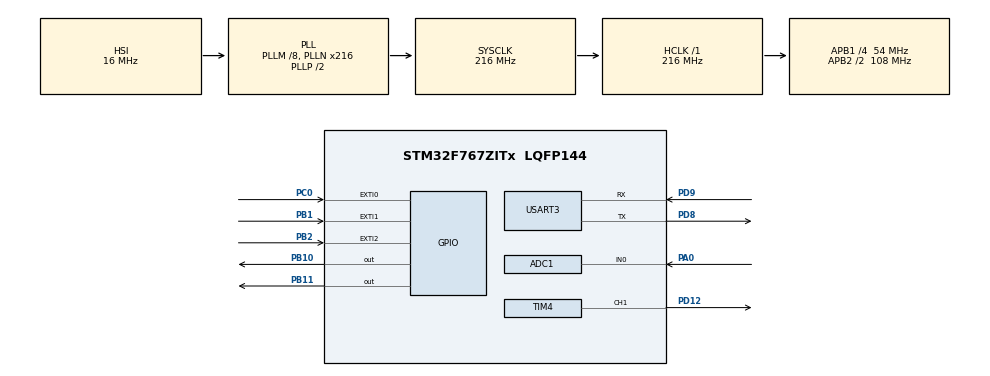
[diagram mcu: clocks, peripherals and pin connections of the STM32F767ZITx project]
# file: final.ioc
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ADC1.Channel-0\#ChannelRegularConversion=ADC_CHANNEL_0
ADC1.ContinuousConvMode=ENABLE
ADC1.EOCSelection=ADC_EOC_SEQ_CONV
ADC1.NbrOfConversionFlag=1
ADC1.Rank-0\#ChannelRegularConversion=1
ADC1.SamplingTime-0\#ChannelRegularConversion=ADC_SAMPLETIME_3CYCLES
ADC1.master=1
CORTEX_M7.default_mode_Activation=1
Mcu.Family=STM32F7
Mcu.Name=STM32F767ZITx
Mcu.Package=LQFP144
NVIC.EXTI0_IRQn=true\:2\:0\:true\:false\:true\:true\:true\:true
NVIC.EXTI1_IRQn=true\:2\:0\:true\:false\:true\:true\:true\:true
NVIC.EXTI2_IRQn=true\:1\:0\:true\:false\:true\:true\:true\:true
NVIC.PriorityGroup=NVIC_PRIORITYGROUP_2
NVIC.TIM2_IRQn=true\:3\:0\:true\:false\:true\:true\:true\:true
NVIC.TIM4_IRQn=true\:3\:0\:true\:false\:true\:true\:true\:true
PA0/WKUP.Signal=ADCx_IN0
PB1.Signal=GPXTI1
PB10.Signal=GPIO_Output
PB11.Signal=GPIO_Output
PB2.Signal=GPXTI2
PC0.Signal=GPXTI0
PD12.Signal=S_TIM4_CH1
PD8.Mode=Asynchronous
PD8.Signal=USART3_TX
PD9.Mode=Asynchronous
PD9.Signal=USART3_RX
ProjectManager.HeapSize=0x200
ProjectManager.StackSize=0x400
ProjectManager.TargetToolchain=STM32CubeIDE
RCC.AHBFreq_Value=216000000
RCC.APB1CLKDivider=RCC_HCLK_DIV4
RCC.APB1Freq_Value=54000000
RCC.APB1TimFreq_Value=108000000
RCC.APB2CLKDivider=RCC_HCLK_DIV2
RCC.APB2Freq_Value=108000000
RCC.APB2TimFreq_Value=216000000
RCC.CortexFreq_Value=216000000
RCC.HCLKFreq_Value=216000000
RCC.HSE_VALUE=25000000
RCC.HSI_VALUE=16000000
RCC.LSE_VALUE=32768
RCC.PLLM=8
RCC.PLLN=216
RCC.SYSCLKFreq_VALUE=216000000
RCC.SYSCLKSource=RCC_SYSCLKSOURCE_PLLCLK
RCC.USBFreq_Value=216000000
RCC.VCOOutputFreq_Value=432000000
SH.ADCx_IN0.0=ADC1_IN0,IN0
SH.S_TIM4_CH1.0=TIM4_CH1,PWM Generation1 CH1
TIM2.Period=400000-1
TIM2.Prescaler=216-1
TIM4.Channel-PWM\ Generation1\ CH1=TIM_CHANNEL_1
USART3.VirtualMode-Asynchronous=VM_ASYNC
VP_TIM2_VS_ClockSourceINT.Mode=Internal
VP_TIM4_VS_ClockSourceINT.Mode=Internal
board=custom

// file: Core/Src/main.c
/* USER CODE BEGIN Header */
/**
  ******************************************************************************
  * @file           : main.c
  * @brief          : Main program body
  ******************************************************************************
  * @attention
  *
  * Copyright (c) 2024 STMicroelectronics.
  * All rights reserved.
  *
  * This software is licensed under terms that can be found in the LICENSE file
  * in the root directory of this software component.
  * If no LICENSE file comes with this software, it is provided AS-IS.
  *
  ******************************************************************************
  */
/* USER CODE END Header */
#include "main.h"
#include "adc.h"
#include "tim.h"
#include "usart.h"
#include "gpio.h"
#include "string.h"
#include "stdio.h"

void SystemClock_Config(void);
static void MPU_Config(void);

/* USER CODE BEGIN 0 */
uint8_t pwm;
int act = 0;
volatile uint32_t adc_val = 0;
uint32_t adc_val_buffer[1];

int average_16(int x) {
    static int samples[16];
    static int i = 0;
    static int total = 0;

    /* Update the moving average */
    total += x - samples[i];
    samples[i] = x;

    /* Update the index */
    i = (i == 15 ? 0 : i + 1);

    return total >> 4; // Divide by 16
}
/* USER CODE END 0 */

int main(void)
{

  /* MPU Configuration--------------------------------------------------------*/
  MPU_Config();

  /* MCU Configuration--------------------------------------------------------*/

  /* Reset of all peripherals, Initializes the Flash interface and the Systick. */
  HAL_Init();

  /* Configure the system clock */
  SystemClock_Config();

  /* Initialize all configured peripherals */
  MX_GPIO_Init();
  MX_ADC1_Init();
  MX_TIM2_Init();
  MX_TIM4_Init();
  MX_USART3_UART_Init();
  /* USER CODE BEGIN 2 */
  HAL_TIM_Base_Start_IT (&htim2);
  HAL_TIM_PWM_Start(&htim4, TIM_CHANNEL_1);
  HAL_ADC_Start_DMA(&hadc1, adc_val_buffer, 1);

  float dutyCycle = 0.0;

  char m1[]= "Press button 2 to control LED \r\n";
  char m2[]= "Enter m to switch manualmode\r\n";
  char m3[]= "\r\nEnter a to switch automode\r\n";
  char m4[]= "\r\nAutomode activated \r\nEnter r to increase\r\n";
  char m5[]= "Input => ";
  char m6[] = "\r\nManualMode activated \r\n";

  char receivedChar;

  HAL_UART_Transmit(&huart3, (uint8_t*)m1, strlen(m1), HAL_MAX_DELAY);

  /* USER CODE END 2 */

  /* Infinite loop */
  while (1)
  {
	  if (act == 1){
		  HAL_UART_Transmit(&huart3, (uint8_t*)m3, strlen(m3), HAL_MAX_DELAY);
		  HAL_UART_Transmit(&huart3, (uint8_t*)m2, strlen(m2), HAL_MAX_DELAY);
		  HAL_UART_Transmit(&huart3, (uint8_t*)m5, strlen(m5), HAL_MAX_DELAY);

		  if (HAL_UART_Receive(&huart3, (uint8_t*)&receivedChar, 1, HAL_MAX_DELAY) == HAL_OK){
			  HAL_UART_Transmit(&huart3, (uint8_t*)&receivedChar, 4, HAL_MAX_DELAY);
			  HAL_UART_Transmit(&huart3, (uint8_t*)"\r\n", strlen("\r\n"), HAL_MAX_DELAY);
			  if(receivedChar == 'a'){
				  HAL_UART_Transmit(&huart3, (uint8_t*)m4, strlen(m4), HAL_MAX_DELAY);

					  while(1){
						  HAL_UART_Transmit(&huart3, (uint8_t*)m5, strlen(m5), HAL_MAX_DELAY);
						  if (HAL_UART_Receive(&huart3, (uint8_t*)&receivedChar, 1, HAL_MAX_DELAY) == HAL_OK){
							  if(receivedChar == 'r'){
								  HAL_UART_Transmit(&huart3, (uint8_t*)&receivedChar, 1, HAL_MAX_DELAY);
								  HAL_UART_Transmit(&huart3, (uint8_t*)"\r\n", strlen("\r\n"), HAL_MAX_DELAY);

								  dutyCycle += 0.2;
								  if(dutyCycle > 1.0){
									  dutyCycle=0.0;
								  }
								  pwm = (GPIOD->IDR & GPIO_PIN_12) >> 12;
								  htim4.Instance->CCR1 = (10000 - 1) * dutyCycle;
							  }
							  else{
								  HAL_UART_Transmit(&huart3, (uint8_t*)&receivedChar, 1, HAL_MAX_DELAY);
								  HAL_UART_Transmit(&huart3, (uint8_t*)"\r\n", strlen("\r\n"), HAL_MAX_DELAY);
								  break;
							  }
					  	  }
					  }
			  	  }
			  if(receivedChar == 'm'){
				  HAL_UART_Transmit(&huart3, (uint8_t*)m6, strlen(m6), HAL_MAX_DELAY);
				  HAL_UART_Transmit(&huart3, (uint8_t*)"type s to stop \r\n", strlen("type s to stop \r\n"), HAL_MAX_DELAY);
				  while (1) {
				      // Check for ADC conversion and handle brightness adjustment
				      if (HAL_ADC_PollForConversion(&hadc1, 100) == HAL_OK) {
				          adc_val = HAL_ADC_GetValue(&hadc1);
				          HAL_ADC_Start_DMA(&hadc1, adc_val_buffer, 1);
				          adc_val = average_16(adc_val);

				          if (adc_val >= 0 && adc_val <= 819) {
				              dutyCycle = 0.2;
				          } else {
				              dutyCycle = 1.0;
				          }
				          htim4.Instance->CCR1 = (10000 - 1) * dutyCycle;
				      }

				      // Check for UART input to see if the user typed 's'
				      if (HAL_UART_Receive(&huart3, (uint8_t*)&receivedChar, 1, 10) == HAL_OK) {
				          if (receivedChar == 's') {
				              break;  // Exit the loop when 's' is received
				          }
				      }
				  }
			  }
		  }
	  }
  }
}

void SystemClock_Config(void)
{
  RCC_OscInitTypeDef RCC_OscInitStruct = {0};
  RCC_ClkInitTypeDef RCC_ClkInitStruct = {0};

  /** Configure the main internal regulator output voltage
  */
  __HAL_RCC_PWR_CLK_ENABLE();
  __HAL_PWR_VOLTAGESCALING_CONFIG(PWR_REGULATOR_VOLTAGE_SCALE1);

  /** Initializes the RCC Oscillators according to the specified parameters
  * in the RCC_OscInitTypeDef structure.
  */
  RCC_OscInitStruct.OscillatorType = RCC_OSCILLATORTYPE_HSI;
  RCC_OscInitStruct.HSIState = RCC_HSI_ON;
  RCC_OscInitStruct.HSICalibrationValue = RCC_HSICALIBRATION_DEFAULT;
  RCC_OscInitStruct.PLL.PLLState = RCC_PLL_ON;
  RCC_OscInitStruct.PLL.PLLSource = RCC_PLLSOURCE_HSI;
  RCC_OscInitStruct.PLL.PLLM = 8;
  RCC_OscInitStruct.PLL.PLLN = 216;
  RCC_OscInitStruct.PLL.PLLP = RCC_PLLP_DIV2;
  RCC_OscInitStruct.PLL.PLLQ = 2;
  RCC_OscInitStruct.PLL.PLLR = 2;
  if (HAL_RCC_OscConfig(&RCC_OscInitStruct) != HAL_OK)
  {
    Error_Handler();
  }

  /** Activate the Over-Drive mode
  */
  if (HAL_PWREx_EnableOverDrive() != HAL_OK)
  {
    Error_Handler();
  }

  /** Initializes the CPU, AHB and APB buses clocks
  */
  RCC_ClkInitStruct.ClockType = RCC_CLOCKTYPE_HCLK|RCC_CLOCKTYPE_SYSCLK
                              |RCC_CLOCKTYPE_PCLK1|RCC_CLOCKTYPE_PCLK2;
  RCC_ClkInitStruct.SYSCLKSource = RCC_SYSCLKSOURCE_PLLCLK;
  RCC_ClkInitStruct.AHBCLKDivider = RCC_SYSCLK_DIV1;
  RCC_ClkInitStruct.APB1CLKDivider = RCC_HCLK_DIV4;
  RCC_ClkInitStruct.APB2CLKDivider = RCC_HCLK_DIV2;

  if (HAL_RCC_ClockConfig(&RCC_ClkInitStruct, FLASH_LATENCY_7) != HAL_OK)
  {
    Error_Handler();
  }
}

/* USER CODE BEGIN 4 */

void HAL_TIM_PeriodElapsedCallback(TIM_HandleTypeDef *htim){

	if (htim->Instance == TIM2){
		HAL_GPIO_WritePin(GPIOB, GPIO_PIN_10, GPIO_PIN_SET);
	}
}

void HAL_GPIO_EXTI_Callback(uint16_t GPIO_Pin)
{
	if (GPIO_Pin == GPIO_PIN_0){
		HAL_GPIO_WritePin(GPIOB, GPIO_PIN_10, GPIO_PIN_RESET);
	}
	if(GPIO_Pin == GPIO_PIN_1){
		  HAL_Delay(200);
		  HAL_TIM_PWM_Start(&htim4, TIM_CHANNEL_1);
		  act = 1;
	}
	if (GPIO_Pin == GPIO_PIN_2){
		HAL_GPIO_WritePin(GPIOB, GPIO_PIN_10, GPIO_PIN_SET);
		HAL_TIM_PWM_Stop(&htim4, TIM_CHANNEL_1);
		act = 1;
	}
}

/* USER CODE END 4 */

 /* MPU Configuration */

void MPU_Config(void)
{
  MPU_Region_InitTypeDef MPU_InitStruct = {0};

  /* Disables the MPU */
  HAL_MPU_Disable();

  /** Initializes and configures the Region and the memory to be protected
  */
  MPU_InitStruct.Enable = MPU_REGION_ENABLE;
  MPU_InitStruct.Number = MPU_REGION_NUMBER0;
  MPU_InitStruct.BaseAddress = 0x0;
  MPU_InitStruct.Size = MPU_REGION_SIZE_4GB;
  MPU_InitStruct.SubRegionDisable = 0x87;
  MPU_InitStruct.TypeExtField = MPU_TEX_LEVEL0;
  MPU_InitStruct.AccessPermission = MPU_REGION_NO_ACCESS;
  MPU_InitStruct.DisableExec = MPU_INSTRUCTION_ACCESS_DISABLE;
  MPU_InitStruct.IsShareable = MPU_ACCESS_SHAREABLE;
  MPU_InitStruct.IsCacheable = MPU_ACCESS_NOT_CACHEABLE;
  MPU_InitStruct.IsBufferable = MPU_ACCESS_NOT_BUFFERABLE;

  HAL_MPU_ConfigRegion(&MPU_InitStruct);
  /* Enables the MPU */
  HAL_MPU_Enable(MPU_PRIVILEGED_DEFAULT);

}

void Error_Handler(void)
{
  __disable_irq();
  while (1)
  {
  }
}
